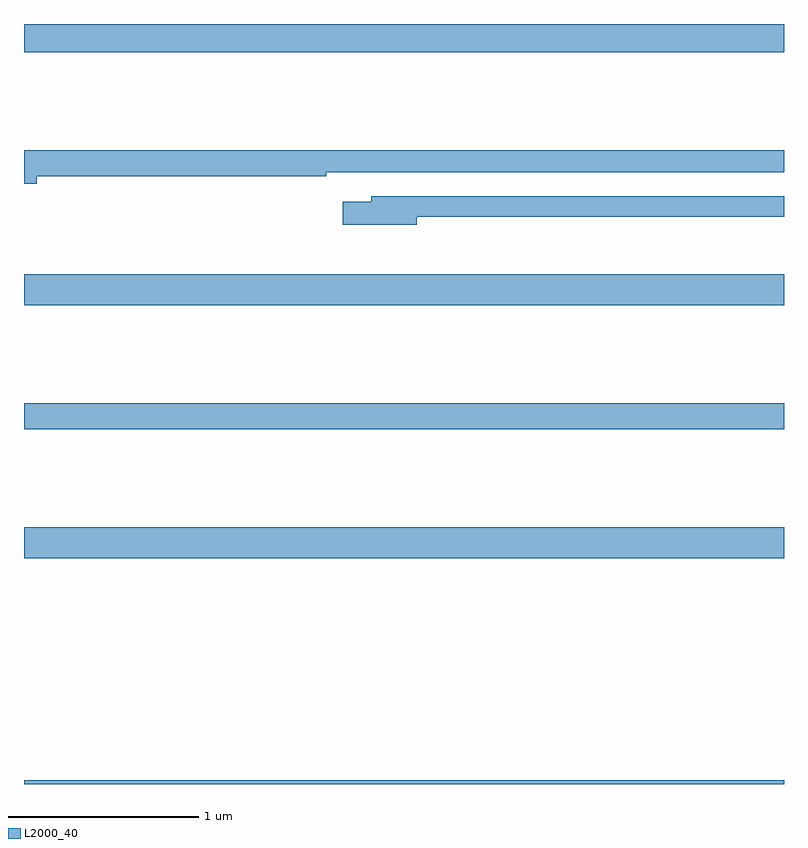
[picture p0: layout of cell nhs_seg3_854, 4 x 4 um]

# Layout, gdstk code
import gdstk
lib = gdstk.Library(unit=1e-6, precision=1e-09)
def R(c, l, rs):  # rectangles x0, y0, x1, y1
    for r in rs: c.add(gdstk.rectangle(r[:2], r[2:], *l))
def P(c, l, *ps):  # polygons
    for p in ps: c.add(gdstk.Polygon(p, *l))
L2000_40 = (2000, 40)

nhs_seg3_854 = lib.new_cell('nhs_seg3_854')
R(nhs_seg3_854, L2000_40, [(155,694.4,159,694.42), (155,695.588,159,695.752), (155,696.268,159,696.404), (155,696.92,159,697.084), (155,698.252,159,698.4)])
P(nhs_seg3_854, L2000_40, [(155.068,697.6),(156.59,697.6),(156.59,697.62),(159,697.62),(159,697.736),(155,697.736),(155,697.558),(155.068,697.558)],
  [(157.066,697.386),(159,697.386),(159,697.494),(156.827,697.494),(156.827,697.465),(156.678,697.465),(156.678,697.343),(157.066,697.343)])

lib.write_gds('nhs_seg3_854.gds')
